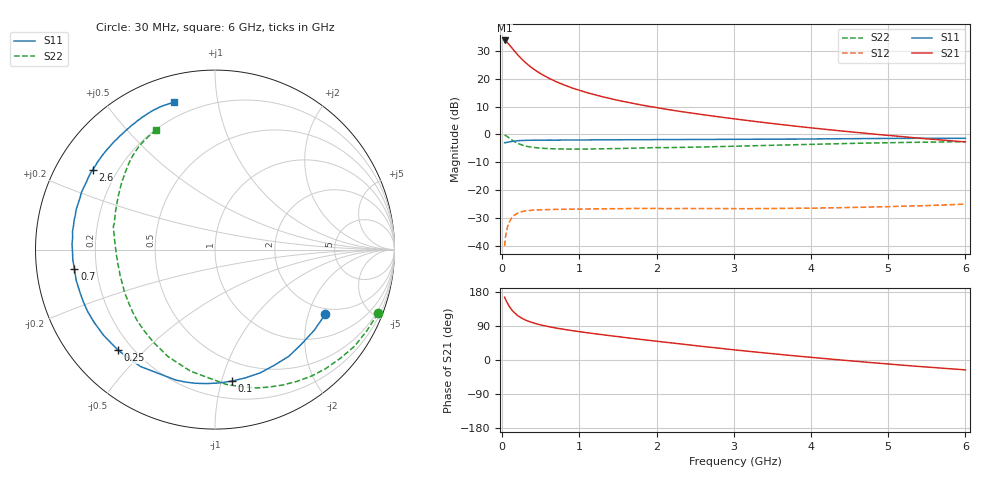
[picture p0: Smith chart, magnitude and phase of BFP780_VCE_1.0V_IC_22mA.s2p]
! Infineon Technologies  Discrete & RF Semiconductors
! BFP780
! VCE =  1.0 V,  IC =  22 mA
! Common Emitter S-Parameters:  Jul 2015
# GHz  S  MA  R  50
!  f  S11  S21  S12  S22
! GHz  MAG  ANG  MAG  ANG  MAG  ANG  MAG  ANG
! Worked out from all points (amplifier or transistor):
!   75 points, 30 MHz to 6 GHz, reference 50 ohm
!   highest |S21| = 33.7 dB at 30 MHz (marker M1)
!   |S21| within 3 dB of that: start of sweep to 133.9 MHz
!   unconditionally stable (mu >= 1): 2.345 GHz to end of sweep
!   at 150 MHz: K = 0.07, MSG = 29.7 dB, |S12| = -29.1 dB
!   at 2.3 GHz: K = 0.99, MSG = 17.4 dB, |S12| = -26.6 dB
!   at 6 GHz: K = 1.75, MAG = 6.2 dB, |S12| = -25.0 dB
!   S11 on the Smith chart (normalised r, x): 30 MHz: 1.78, -2.59; 100 MHz: 0.33, -1.08; 250 MHz: 0.15, -0.42; 700 MHz: 0.12, -0.07; 2.6 GHz: 0.11, +0.29; 6 GHz: 0.13, +0.75
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0.03  0.7122 -30.2  48.56 165.5  0.0099 73.6  0.9755 -21.4
0.05  0.7137 -47.3  46.48 156.5  0.0168 70.5  0.9456 -34.7
0.06  0.7229 -55.3  45.22 152.6  0.0192 67.9  0.9245 -40.9
0.08  0.7315 -69.9  42.28 145.2  0.024 58.5  0.8861 -52.7
0.1  0.7387 -82.8  39.17 138.8  0.0283 51.4  0.8434 -63.4
0.13  0.7529 -98.4  34.93 130.6  0.0322 42.8  0.7854 -77.4
0.15  0.759 -106.6  32.3 126.2  0.035 39.2  0.7538 -85.2
0.2  0.7727 -122.6  26.82 117.2  0.0388 32.3  0.6909 -101.4
0.25  0.7784 -133.9  22.69 110.6  0.0411 26.3  0.6508 -113.8
0.3  0.7831 -142.4  19.49 105.5  0.0426 23.0  0.6199 -123.6
0.4  0.7889 -153.9  15.09 98.0  0.044 17.2  0.5867 -137.7
0.5  0.7892 -161.7  12.23 92.5  0.0446 14.0  0.567 -147.3
0.7  0.7906 -172.1  8.818 84.2  0.0453 10.2  0.5498 -160.2
0.9  0.794 -179.2  6.871 77.7  0.0457 7.8  0.5454 -168.6
1.1  0.7961 175.1  5.612 71.9  0.046 6.3  0.5475 -174.9
1.5  0.8013 166.2  4.092 61.7  0.0466 4.2  0.5586 175.9
2.1  0.8091 155.1  2.869 47.2  0.0466 1.8  0.5792 165.7
2.6  0.8141 146.8  2.263 35.7  0.0469 0.5  0.5966 157.7
3.1  0.8189 138.9  1.834 24.8  0.0466 -0.0  0.6192 150.0
4.1  0.8314 124.9  1.272 5.2  0.0478 0.7  0.6691 137.1
5.1  0.8497 113.7  0.936 -12.2  0.0512 0.9  0.7141 126.2
6  0.8521 105.6  0.735 -26.1  0.0561 -0.0  0.7428 116.3
